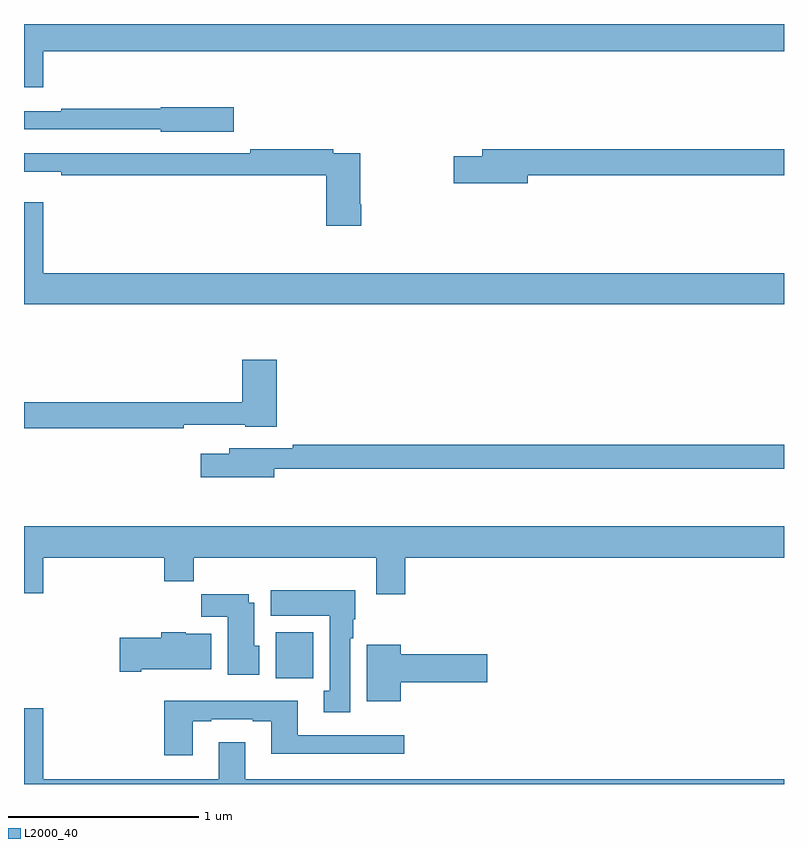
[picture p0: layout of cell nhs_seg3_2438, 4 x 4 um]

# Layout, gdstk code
import gdstk
lib = gdstk.Library(unit=1e-6, precision=1e-09)
def R(c, l, rs):  # rectangles x0, y0, x1, y1
    for r in rs: c.add(gdstk.rectangle(r[:2], r[2:], *l))
def P(c, l, *ps):  # polygons
    for p in ps: c.add(gdstk.Polygon(p, *l))
L2000_40 = (2000, 40)

nhs_seg3_2438 = lib.new_cell('nhs_seg3_2438')
R(nhs_seg3_2438, L2000_40, [(238.325,690.956,238.522,691.198)])
P(nhs_seg3_2438, L2000_40, [(241,694.4),(237,694.4),(237,694.068),(237.1,694.068),(237.1,694.256),(241,694.256)],
  [(238.105,693.963),(237.72,693.963),(237.72,693.955),(237.196,693.955),(237.196,693.942),(237,693.942),(237,693.846),(237.72,693.846),(237.72,693.833),(238.105,693.833)],
  [(238.775,693.451),(238.77,693.451),(238.77,693.72),(238.628,693.72),(238.628,693.74),(238.192,693.74),(238.192,693.72),(237,693.72),(237,693.623),(237.196,693.623),(237.196,693.604),(238.592,693.604),(238.592,693.339),(238.775,693.339)],
  [(239.65,693.604),(241,693.604),(241,693.74),(239.411,693.74),(239.411,693.704),(239.262,693.704),(239.262,693.562),(239.65,693.562)],
  [(241,693.088),(237.1,693.088),(237.1,693.463),(237,693.463),(237,692.924),(241,692.924)],
  [(237.842,692.292),(238.164,692.292),(238.164,692.279),(238.331,692.279),(238.331,692.632),(238.148,692.632),(238.148,692.408),(237,692.408),(237,692.272),(237.842,692.272)],
  [(238.318,692.058),(241,692.058),(241,692.186),(238.414,692.186),(238.414,692.166),(238.079,692.166),(238.079,692.137),(237.93,692.137),(237.93,692.015),(238.318,692.015)],
  [(239.006,691.592),(241,691.592),(241,691.756),(237,691.756),(237,691.404),(237.1,691.404),(237.1,691.592),(237.737,691.592),(237.737,691.468),(237.893,691.468),(237.893,691.592),(238.853,691.592),(238.853,691.398),(239.006,691.398)],
  [(238.717,691.166),(238.732,691.166),(238.732,691.266),(238.744,691.266),(238.744,691.42),(238.298,691.42),(238.298,691.286),(238.61,691.286),(238.61,690.89),(238.577,690.89),(238.577,690.777),(238.717,690.777)],
  [(238.237,691.128),(238.213,691.128),(238.213,691.354),(238.183,691.354),(238.183,691.399),(237.934,691.399),(237.934,691.28),(238.073,691.28),(238.073,690.974),(238.237,690.974)],
  [(237.616,691.004),(237.985,691.004),(237.985,691.192),(237.852,691.192),(237.852,691.198),(237.722,691.198),(237.722,691.17),(237.504,691.17),(237.504,690.992),(237.616,690.992)],
  [(238.984,690.935),(239.437,690.935),(239.437,691.082),(238.984,691.082),(238.984,691.132),(238.805,691.132),(238.805,690.836),(238.984,690.836)],
  [(237.889,690.729),(237.985,690.729),(237.985,690.741),(238.205,690.741),(238.205,690.729),(238.301,690.729),(238.301,690.56),(239.002,690.56),(239.002,690.657),(238.441,690.657),(238.441,690.838),(237.737,690.838),(237.737,690.552),(237.889,690.552)],
  [(241,690.424),(238.165,690.424),(238.165,690.619),(238.025,690.619),(238.025,690.424),(237.1,690.424),(237.1,690.799),(237,690.799),(237,690.4),(241,690.4)])

lib.write_gds('nhs_seg3_2438.gds')
